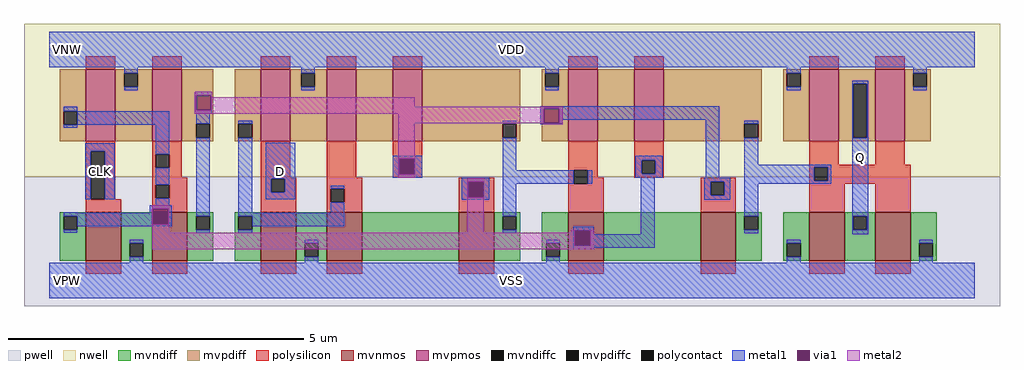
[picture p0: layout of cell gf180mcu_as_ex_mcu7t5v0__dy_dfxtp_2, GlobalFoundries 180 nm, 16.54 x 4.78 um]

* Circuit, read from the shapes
.subckt gf180mcu_as_ex_mcu7t5v0__dy_dfxtp_2 VDD VNW VPW VSS D Q CLK
XM1 VSS CLK n1 VPW nfet_06v0 w=0.82u l=0.6u
XM2 n2 n1 VSS VPW nfet_06v0 w=0.82u l=0.6u
XM3 VSS D n3 VPW nfet_06v0 w=0.82u l=0.6u
XM4 n4 n3 VSS VPW nfet_06v0 w=0.82u l=0.6u
XM5 n5 n1 n4 VPW nfet_06v0 w=0.82u l=0.6u
XM6 n6 n5 VSS VPW nfet_06v0 w=0.82u l=0.6u
XM7 n7 n2 n6 VPW nfet_06v0 w=0.82u l=0.6u
XM8 Q n7 VSS VPW nfet_06v0 w=0.82u l=0.6u m=2
XM9 VDD CLK n1 VNW pfet_06v0 w=1.22u l=0.5u
XM10 n2 n1 VDD VNW pfet_06v0 w=1.22u l=0.5u
XM11 VDD D n3 VNW pfet_06v0 w=1.22u l=0.5u
XM12 n8 n3 VDD VNW pfet_06v0 w=1.22u l=0.5u
XM13 n5 n2 n8 VNW pfet_06v0 w=1.22u l=0.5u
XM14 n9 n5 VDD VNW pfet_06v0 w=1.22u l=0.5u
XM15 n7 n1 n9 VNW pfet_06v0 w=1.22u l=0.5u
XM16 Q n7 VDD VNW pfet_06v0 w=1.22u l=0.5u m=2
.ends

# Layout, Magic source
magic
tech gf180mcuD
magscale 1 10
<< nwell >>
rect -86 352 3222 870
<< pwell >>
rect -86 -86 3222 352
<< mvnmos >>
rect 124 68 244 232
rect 348 68 468 232
rect 716 68 836 232
rect 940 68 1060 232
rect 1388 68 1508 232
rect 1759 68 1879 232
rect 2207 68 2327 232
rect 2575 68 2695 232
rect 2799 68 2919 232
<< mvpmos >>
rect 124 472 224 716
rect 348 472 448 716
rect 716 472 816 716
rect 940 472 1040 716
rect 1164 472 1264 716
rect 1759 472 1859 716
rect 1983 472 2083 716
rect 2575 472 2675 716
rect 2799 472 2899 716
<< mvndiff >>
rect 36 219 124 232
rect 36 173 49 219
rect 95 173 124 219
rect 36 68 124 173
rect 244 127 348 232
rect 244 81 273 127
rect 319 81 348 127
rect 244 68 348 81
rect 468 218 556 232
rect 468 172 497 218
rect 543 172 556 218
rect 468 68 556 172
rect 628 218 716 232
rect 628 172 641 218
rect 687 172 716 218
rect 628 68 716 172
rect 836 127 940 232
rect 836 81 865 127
rect 911 81 940 127
rect 836 68 940 81
rect 1060 68 1388 232
rect 1508 219 1596 232
rect 1508 173 1537 219
rect 1583 173 1596 219
rect 1508 68 1596 173
rect 1668 127 1759 232
rect 1668 81 1684 127
rect 1730 81 1759 127
rect 1668 68 1759 81
rect 1879 68 2207 232
rect 2327 218 2415 232
rect 2327 172 2356 218
rect 2402 172 2415 218
rect 2327 68 2415 172
rect 2487 127 2575 232
rect 2487 81 2500 127
rect 2546 81 2575 127
rect 2487 68 2575 81
rect 2695 219 2799 232
rect 2695 173 2724 219
rect 2770 173 2799 219
rect 2695 68 2799 173
rect 2919 127 3007 232
rect 2919 81 2948 127
rect 2994 81 3007 127
rect 2919 68 3007 81
<< mvpdiff >>
rect 36 575 124 716
rect 36 529 49 575
rect 95 529 124 575
rect 36 472 124 529
rect 224 703 348 716
rect 224 657 253 703
rect 299 657 348 703
rect 224 472 348 657
rect 448 531 556 716
rect 448 485 497 531
rect 543 485 556 531
rect 448 472 556 485
rect 628 531 716 716
rect 628 485 641 531
rect 687 485 716 531
rect 628 472 716 485
rect 816 703 940 716
rect 816 657 854 703
rect 900 657 940 703
rect 816 472 940 657
rect 1040 472 1164 716
rect 1264 531 1596 716
rect 1264 485 1537 531
rect 1583 485 1596 531
rect 1264 472 1596 485
rect 1668 703 1759 716
rect 1668 657 1681 703
rect 1727 657 1759 703
rect 1668 472 1759 657
rect 1859 472 1983 716
rect 2083 531 2415 716
rect 2083 485 2356 531
rect 2402 485 2415 531
rect 2083 472 2415 485
rect 2487 703 2575 716
rect 2487 657 2500 703
rect 2546 657 2575 703
rect 2487 472 2575 657
rect 2675 667 2799 716
rect 2675 485 2724 667
rect 2770 485 2799 667
rect 2675 472 2799 485
rect 2899 703 2987 716
rect 2899 657 2928 703
rect 2974 657 2987 703
rect 2899 472 2987 657
<< mvndiffc >>
rect 49 173 95 219
rect 273 81 319 127
rect 497 172 543 218
rect 641 172 687 218
rect 865 81 911 127
rect 1537 173 1583 219
rect 1684 81 1730 127
rect 2356 172 2402 218
rect 2500 81 2546 127
rect 2724 173 2770 219
rect 2948 81 2994 127
<< mvpdiffc >>
rect 49 529 95 575
rect 253 657 299 703
rect 497 485 543 531
rect 641 485 687 531
rect 854 657 900 703
rect 1537 485 1583 531
rect 1681 657 1727 703
rect 2356 485 2402 531
rect 2500 657 2546 703
rect 2724 485 2770 667
rect 2928 657 2974 703
<< polysilicon >>
rect 124 716 224 760
rect 348 716 448 760
rect 716 716 816 760
rect 940 716 1040 760
rect 1164 716 1264 760
rect 1759 716 1859 760
rect 1983 716 2083 760
rect 2575 716 2675 760
rect 2799 716 2899 760
rect 124 439 224 472
rect 124 276 141 439
rect 187 276 224 439
rect 348 428 448 472
rect 348 382 361 428
rect 407 382 448 428
rect 348 349 448 382
rect 716 349 816 472
rect 940 349 1040 472
rect 1164 410 1264 472
rect 1164 364 1186 410
rect 1232 364 1264 410
rect 1164 349 1264 364
rect 1759 375 1859 472
rect 348 325 468 349
rect 348 279 361 325
rect 407 279 468 325
rect 124 232 244 276
rect 348 232 468 279
rect 716 346 836 349
rect 716 300 752 346
rect 798 300 836 346
rect 716 232 836 300
rect 940 311 1060 349
rect 940 265 953 311
rect 999 265 1060 311
rect 940 232 1060 265
rect 1388 333 1508 349
rect 1388 287 1423 333
rect 1469 287 1508 333
rect 1388 232 1508 287
rect 1759 329 1778 375
rect 1824 349 1859 375
rect 1983 408 2083 472
rect 1983 362 2008 408
rect 2054 362 2083 408
rect 1983 349 2083 362
rect 2575 393 2675 472
rect 2799 393 2899 472
rect 2575 385 2919 393
rect 1824 329 1879 349
rect 1759 232 1879 329
rect 2207 336 2327 349
rect 2207 290 2241 336
rect 2287 290 2327 336
rect 2207 232 2327 290
rect 2575 339 2593 385
rect 2639 339 2919 385
rect 2575 328 2919 339
rect 2575 232 2695 328
rect 2799 232 2919 328
rect 124 24 244 68
rect 348 24 468 68
rect 716 24 836 68
rect 940 24 1060 68
rect 1388 24 1508 68
rect 1759 24 1879 68
rect 2207 24 2327 68
rect 2575 24 2695 68
rect 2799 24 2919 68
<< polycontact >>
rect 141 276 187 439
rect 361 382 407 428
rect 1186 364 1232 410
rect 361 279 407 325
rect 752 300 798 346
rect 953 265 999 311
rect 1423 287 1469 333
rect 1778 329 1824 375
rect 2008 362 2054 408
rect 2241 290 2287 336
rect 2593 339 2639 385
<< metal1 >>
rect 0 724 3136 844
rect 253 703 299 724
rect 253 646 299 657
rect 854 703 900 724
rect 854 646 900 657
rect 1681 703 1727 724
rect 1681 646 1727 657
rect 2500 703 2546 724
rect 2928 703 2974 724
rect 2500 646 2546 657
rect 2722 667 2776 678
rect 493 629 551 641
rect 49 575 95 590
rect 493 577 497 629
rect 549 577 551 629
rect 95 529 407 575
rect 493 565 551 577
rect 1664 585 2271 591
rect 49 518 95 529
rect 122 439 222 466
rect 122 276 141 439
rect 187 276 222 439
rect 361 428 407 529
rect 361 325 407 382
rect 361 255 407 279
rect 497 531 543 565
rect 341 244 415 255
rect 49 230 95 232
rect 341 230 351 244
rect 49 219 351 230
rect 95 192 351 219
rect 403 192 415 244
rect 95 184 415 192
rect 497 218 543 485
rect 49 162 95 173
rect 497 161 543 172
rect 641 531 687 542
rect 641 230 687 485
rect 1537 531 1583 542
rect 1664 533 1676 585
rect 1728 545 2271 585
rect 1728 533 1740 545
rect 1664 530 1740 533
rect 733 346 834 467
rect 1164 413 1264 424
rect 1164 361 1186 413
rect 1238 361 1264 413
rect 1164 349 1264 361
rect 1537 375 1583 485
rect 1986 408 2079 424
rect 733 300 752 346
rect 798 300 834 346
rect 1398 335 1491 349
rect 733 276 834 300
rect 953 311 999 322
rect 1398 283 1420 335
rect 1472 283 1491 335
rect 1398 274 1491 283
rect 1537 329 1778 375
rect 1824 329 1840 375
rect 1986 362 2008 408
rect 2054 362 2079 408
rect 1986 349 2079 362
rect 2225 349 2271 545
rect 2356 531 2402 542
rect 2356 393 2402 485
rect 2722 485 2724 667
rect 2770 485 2776 667
rect 2928 646 2974 657
rect 2356 385 2650 393
rect 953 230 999 265
rect 641 218 999 230
rect 687 184 999 218
rect 1537 219 1583 329
rect 641 161 687 172
rect 1537 161 1583 173
rect 1776 170 1845 182
rect 273 127 319 138
rect 273 60 319 81
rect 865 127 911 138
rect 865 60 911 81
rect 1684 127 1730 138
rect 1776 118 1781 170
rect 1833 157 1845 170
rect 2005 157 2051 349
rect 2219 336 2307 349
rect 2219 290 2241 336
rect 2287 290 2307 336
rect 2219 274 2307 290
rect 2356 339 2593 385
rect 2639 339 2650 385
rect 2356 328 2650 339
rect 2356 218 2402 328
rect 2356 161 2402 172
rect 2722 219 2776 485
rect 2722 173 2724 219
rect 2770 173 2776 219
rect 2722 158 2776 173
rect 1833 118 2051 157
rect 1776 111 2051 118
rect 2500 127 2546 138
rect 1776 106 1847 111
rect 1684 60 1730 81
rect 2500 60 2546 81
rect 2948 127 2994 138
rect 2948 60 2994 81
rect 0 -60 3136 60
<< via1 >>
rect 497 577 549 629
rect 351 192 403 244
rect 1676 533 1728 585
rect 1186 410 1238 413
rect 1186 364 1232 410
rect 1232 364 1238 410
rect 1186 361 1238 364
rect 1420 333 1472 335
rect 1420 287 1423 333
rect 1423 287 1469 333
rect 1469 287 1472 333
rect 1420 283 1472 287
rect 1781 118 1833 170
<< metal2 >>
rect 493 629 551 641
rect 493 577 497 629
rect 549 622 551 629
rect 549 589 1239 622
rect 549 585 1740 589
rect 549 577 1676 585
rect 493 566 1676 577
rect 493 565 551 566
rect 1183 533 1676 566
rect 1728 533 1740 585
rect 1183 425 1239 533
rect 1672 531 1740 533
rect 1183 413 1240 425
rect 1183 361 1186 413
rect 1238 361 1240 413
rect 1183 349 1240 361
rect 1417 335 1474 347
rect 1417 283 1420 335
rect 1472 283 1474 335
rect 1417 280 1474 283
rect 347 244 406 256
rect 347 192 351 244
rect 403 192 406 244
rect 347 187 406 192
rect 348 162 406 187
rect 1417 162 1473 280
rect 1769 170 1846 172
rect 1769 162 1781 170
rect 348 118 1781 162
rect 1833 118 1846 170
rect 348 106 1846 118
<< labels >>
flabel metal1 s 0 724 3136 844 0 FreeSans 400 0 0 0 VDD
port 1 nsew power bidirectional abutment
flabel metal1 s 0 -60 3136 60 0 FreeSans 400 0 0 0 VSS
port 4 nsew ground bidirectional abutment
flabel nwell s 10 734 110 834 0 FreeSans 400 0 0 0 VNW
port 2 nsew power bidirectional
flabel pwell s 10 -50 110 50 0 FreeSans 400 0 0 0 VPW
port 3 nsew ground bidirectional
flabel metal1 122 276 222 466 0 FreeSans 400 0 0 0 CLK
port 7 nsew clock input
flabel metal1 733 276 834 467 0 FreeSans 200 0 0 0 D
port 5 nsew signal input
flabel metal1 2722 158 2776 678 0 FreeSans 200 0 0 0 Q
port 6 nsew signal output
<< properties >>
string FIXED_BBOX 0 0 3136 784
string LEFclass core
string LEFsite GF018hv5v_mcu_sc7
string LEFsymmetry X Y
string MASKHINTS_NPLUS -16 -40 3152 352
string MASKHINTS_PPLUS -16 352 3152 824
<< end >>
